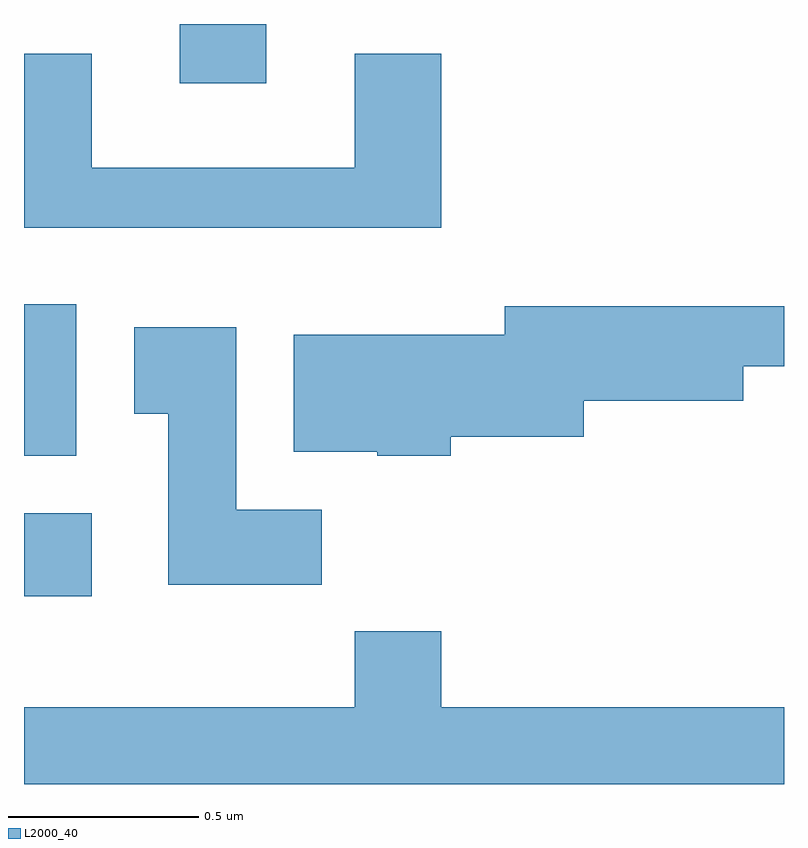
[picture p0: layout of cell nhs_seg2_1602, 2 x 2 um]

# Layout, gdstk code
import gdstk
lib = gdstk.Library(unit=1e-6, precision=1e-09)
def R(c, l, rs):  # rectangles x0, y0, x1, y1
    for r in rs: c.add(gdstk.rectangle(r[:2], r[2:], *l))
def P(c, l, *ps):  # polygons
    for p in ps: c.add(gdstk.Polygon(p, *l))
L2000_40 = (2000, 40)

nhs_seg2_1602 = lib.new_cell('nhs_seg2_1602')
R(nhs_seg2_1602, L2000_40, [(196.611,1073.296,196.789,1073.514), (196.611,1073.666,196.749,1074.064), (197.021,1074.646,197.249,1074.802)])
P(nhs_seg2_1602, L2000_40, [(197.709,1074.724),(197.481,1074.724),(197.481,1074.424),(196.789,1074.424),(196.789,1074.724),(196.611,1074.724),(196.611,1074.266),(197.709,1074.266)],
  [(197.734,1073.716),(198.084,1073.716),(198.084,1073.811),(198.504,1073.811),(198.504,1073.901),(198.611,1073.901),(198.611,1074.059),(197.876,1074.059),(197.876,1073.984),(197.321,1073.984),(197.321,1073.676),(197.54,1073.676),(197.54,1073.666),(197.734,1073.666)],
  [(197.394,1073.524),(197.169,1073.524),(197.169,1074.004),(196.901,1074.004),(196.901,1073.776),(196.991,1073.776),(196.991,1073.326),(197.394,1073.326)],
  [(198.611,1073.004),(197.709,1073.004),(197.709,1073.204),(197.481,1073.204),(197.481,1073.004),(196.611,1073.004),(196.611,1072.802),(198.611,1072.802)])

lib.write_gds('nhs_seg2_1602.gds')
